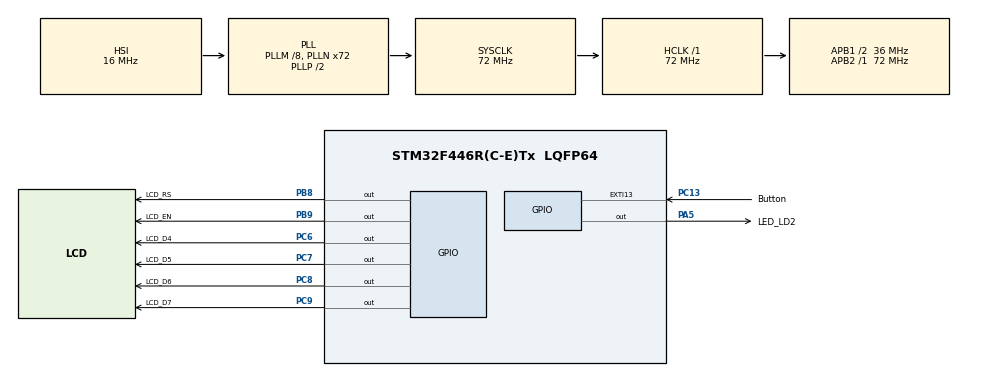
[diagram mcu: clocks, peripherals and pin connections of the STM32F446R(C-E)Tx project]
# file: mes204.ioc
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Mcu.Family=STM32F4
Mcu.Name=STM32F446R(C-E)Tx
Mcu.Package=LQFP64
NVIC.EXTI15_10_IRQn=true\:0\:0\:false\:false\:true\:true\:true\:true
NVIC.PriorityGroup=NVIC_PRIORITYGROUP_4
NVIC.TIM1_UP_TIM10_IRQn=true\:0\:0\:false\:false\:true\:true\:true\:true
PA13.Signal=SYS_JTMS-SWDIO
PA2.Signal=USART2_TX
PA3.Signal=USART2_RX
PA5.GPIO_Label=LED_LD2
PA5.Signal=GPIO_Output
PB8.GPIO_Label=LCD_RS
PB8.Signal=GPIO_Output
PB9.GPIO_Label=LCD_EN
PB9.Signal=GPIO_Output
PC13.GPIO_Label=Button
PC13.GPIO_ModeDefaultEXTI=GPIO_MODE_IT_FALLING
PC13.GPIO_PuPd=GPIO_PULLUP
PC13.Signal=GPXTI13
PC14-OSC32_IN.Signal=RCC_OSC32_IN
PC15-OSC32_OUT.Signal=RCC_OSC32_OUT
PC6.GPIO_Label=LCD_D4
PC6.Signal=GPIO_Output
PC7.GPIO_Label=LCD_D5
PC7.Signal=GPIO_Output
PC8.GPIO_Label=LCD_D6
PC8.Signal=GPIO_Output
PC9.GPIO_Label=LCD_D7
PC9.Signal=GPIO_Output
PH0-OSC_IN.Mode=HSE-External-Oscillator
PH0-OSC_IN.Signal=RCC_OSC_IN
PH1-OSC_OUT.Mode=HSE-External-Oscillator
PH1-OSC_OUT.Signal=RCC_OSC_OUT
ProjectManager.HeapSize=0x200
ProjectManager.StackSize=0x400
ProjectManager.TargetToolchain=CMake
RCC.AHBFreq_Value=72000000
RCC.APB1CLKDivider=RCC_HCLK_DIV2
RCC.APB1Freq_Value=36000000
RCC.APB1TimFreq_Value=72000000
RCC.APB2Freq_Value=72000000
RCC.APB2TimFreq_Value=72000000
RCC.CortexFreq_Value=72000000
RCC.HCLKFreq_Value=72000000
RCC.HSE_VALUE=8000000
RCC.PLLM=8
RCC.PLLN=72
RCC.SYSCLKFreq_VALUE=72000000
RCC.SYSCLKSource=RCC_SYSCLKSOURCE_PLLCLK
RCC.USBFreq_Value=72000000
RCC.VCOOutputFreq_Value=144000000
TIM1.Period=500-1
TIM1.Prescaler=7200-1
VP_TIM1_VS_ClockSourceINT.Mode=Internal
board=custom

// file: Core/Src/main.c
/* USER CODE BEGIN Header */
/**
  ******************************************************************************
  * @file           : main.c
  * @brief          : Main program body
  ******************************************************************************
  * @attention
  *
  * Copyright (c) 2025 STMicroelectronics.
  * All rights reserved.
  *
  * This software is licensed under terms that can be found in the LICENSE file
  * in the root directory of this software component.
  * If no LICENSE file comes with this software, it is provided AS-IS.
  *
  ******************************************************************************
  */
/* USER CODE END Header */
#include "main.h"

/* USER CODE BEGIN Includes */

#include "lcd.h"
#include "dinogame.h"
#include <stdbool.h>

/* USER CODE END Includes */

TIM_HandleTypeDef htim1;

/* USER CODE BEGIN PV */

Lcd_PortType data_ports[] = {GPIOC, GPIOC, GPIOC, GPIOC};   // D4, D5, D6, D7 -> PC6..PC9
Lcd_PinType  data_pins[]  = {GPIO_PIN_6, GPIO_PIN_7, GPIO_PIN_8, GPIO_PIN_9};

Lcd_PortType rs_port = GPIOB;
Lcd_PinType  rs_pin  = GPIO_PIN_8;

Lcd_PortType en_port = GPIOB;
Lcd_PinType  en_pin  = GPIO_PIN_9;
Lcd_HandleTypeDef lcd; /* 全局句柄的定义（分配内存） */

// volatile Lcd_State_t lcd_state = STATE_CLEAR; // 此变量未在其他地方使用，可以删除或忽略

/* 增加状态跟踪变量以解决屏幕卡死问题 */
bool last_game_start_state = false;

/* USER CODE END PV */

void SystemClock_Config(void);
static void MX_GPIO_Init(void);
static void MX_TIM1_Init(void);

/* USER CODE BEGIN 0 */

/**
 * @brief 绘制初始的“待机”界面。
 */
void Draw_Initial_Screen(void)
{
    Lcd_clear(&lcd);
    Lcd_cursor(&lcd, 0, 1);
    Lcd_string(&lcd, "Dino STM32");
    Lcd_cursor(&lcd, 1, 1);
    Lcd_string(&lcd, "Press Button!");
}

/* USER CODE END 0 */

int main(void)
{

  /* MCU Configuration--------------------------------------------------------*/

  /* Reset of all peripherals, Initializes the Flash interface and the Systick. */
  HAL_Init();

  /* Configure the system clock */
  SystemClock_Config();

  /* Initialize all configured peripherals */
  MX_GPIO_Init();
  MX_TIM1_Init();
  /* USER CODE BEGIN 2 */

  /* 创建并初始化 LCD（内部会调用 Lcd_init） */
  lcd = Lcd_create(data_ports, data_pins, rs_port, rs_pin, en_port, en_pin, LCD_4_BIT_MODE);

  /* 可选短延时，确保 LCD 上电稳定 */
  HAL_Delay(50);
  Lcd_clear(&lcd);

  Lcd_load_custom_chars(&lcd); // 加载恐龙和草地图形
  game_start = false; // 确保初始状态是待机

  HAL_TIM_Base_Start_IT(&htim1);

  // 初始显示，设置初始状态
  Draw_Initial_Screen();
  last_game_start_state = game_start;

  /* USER CODE END 2 */

  /* Infinite loop */
  /* USER CODE BEGIN WHILE */
  while (1)
  {
    // --- 状态变化检测与 LCD 重绘逻辑 ---
    // 这个逻辑现在主要用于处理从游戏结束返回待机界面的情况 (如果未来有此功能)
    if (game_start != last_game_start_state)
    {
      if (game_start == false)
      {
        // 状态从 TRUE (游戏) 切换到 FALSE (待机/结束)，重绘初始屏幕
        Draw_Initial_Screen();
      }
      // 当从 FALSE 切换到 TRUE 时，所有绘制工作由 EXTI 中断处理，这里无需操作
      last_game_start_state = game_start;
    }

    // --- LED 指示和主循环延时 ---
    if (game_start == false)
    {
      // 待机状态：慢速闪烁
      HAL_GPIO_TogglePin(GPIOA, LED_LD2_Pin);
      HAL_Delay(500);
    }
    else
    {
      // 游戏状态：快速闪烁
      HAL_GPIO_TogglePin(GPIOA, LED_LD2_Pin);
      HAL_Delay(100);
    }

    /* USER CODE END WHILE */

  }
}

void SystemClock_Config(void)
{
  RCC_OscInitTypeDef RCC_OscInitStruct = {0};
  RCC_ClkInitTypeDef RCC_ClkInitStruct = {0};

  /** Configure the main internal regulator output voltage
  */
  __HAL_RCC_PWR_CLK_ENABLE();
  __HAL_PWR_VOLTAGESCALING_CONFIG(PWR_REGULATOR_VOLTAGE_SCALE3);

  /** Initializes the RCC Oscillators according to the specified parameters
  * in the RCC_OscInitTypeDef structure.
  */
  RCC_OscInitStruct.OscillatorType = RCC_OSCILLATORTYPE_HSI;
  RCC_OscInitStruct.HSIState = RCC_HSI_ON;
  RCC_OscInitStruct.HSICalibrationValue = RCC_HSICALIBRATION_DEFAULT;
  RCC_OscInitStruct.PLL.PLLState = RCC_PLL_ON;
  RCC_OscInitStruct.PLL.PLLSource = RCC_PLLSOURCE_HSI;
  RCC_OscInitStruct.PLL.PLLM = 8;
  RCC_OscInitStruct.PLL.PLLN = 72;
  RCC_OscInitStruct.PLL.PLLP = RCC_PLLP_DIV2;
  RCC_OscInitStruct.PLL.PLLQ = 2;
  RCC_OscInitStruct.PLL.PLLR = 2;
  if (HAL_RCC_OscConfig(&RCC_OscInitStruct) != HAL_OK)
  {
    Error_Handler();
  }

  /** Initializes the CPU, AHB and APB buses clocks
  */
  RCC_ClkInitStruct.ClockType = RCC_CLOCKTYPE_HCLK|RCC_CLOCKTYPE_SYSCLK
                              |RCC_CLOCKTYPE_PCLK1|RCC_CLOCKTYPE_PCLK2;
  RCC_ClkInitStruct.SYSCLKSource = RCC_SYSCLKSOURCE_PLLCLK;
  RCC_ClkInitStruct.AHBCLKDivider = RCC_SYSCLK_DIV1;
  RCC_ClkInitStruct.APB1CLKDivider = RCC_HCLK_DIV2;
  RCC_ClkInitStruct.APB2CLKDivider = RCC_HCLK_DIV1;

  if (HAL_RCC_ClockConfig(&RCC_ClkInitStruct, FLASH_LATENCY_2) != HAL_OK)
  {
    Error_Handler();
  }
}

static void MX_TIM1_Init(void)
{

  TIM_ClockConfigTypeDef sClockSourceConfig = {0};
  TIM_MasterConfigTypeDef sMasterConfig = {0};

  htim1.Instance = TIM1;
  htim1.Init.Prescaler = 7200-1;
  htim1.Init.CounterMode = TIM_COUNTERMODE_UP;
  htim1.Init.Period = 500-1;
  htim1.Init.ClockDivision = TIM_CLOCKDIVISION_DIV1;
  htim1.Init.RepetitionCounter = 0;
  htim1.Init.AutoReloadPreload = TIM_AUTORELOAD_PRELOAD_DISABLE;
  if (HAL_TIM_Base_Init(&htim1) != HAL_OK)
  {
    Error_Handler();
  }
  sClockSourceConfig.ClockSource = TIM_CLOCKSOURCE_INTERNAL;
  if (HAL_TIM_ConfigClockSource(&htim1, &sClockSourceConfig) != HAL_OK)
  {
    Error_Handler();
  }
  sMasterConfig.MasterOutputTrigger = TIM_TRGO_RESET;
  sMasterConfig.MasterSlaveMode = TIM_MASTERSLAVEMODE_DISABLE;
  if (HAL_TIMEx_MasterConfigSynchronization(&htim1, &sMasterConfig) != HAL_OK)
  {
    Error_Handler();
  }

}

static void MX_GPIO_Init(void)
{
  GPIO_InitTypeDef GPIO_InitStruct = {0};

  /* GPIO Ports Clock Enable */
  __HAL_RCC_GPIOC_CLK_ENABLE();
  __HAL_RCC_GPIOH_CLK_ENABLE();
  __HAL_RCC_GPIOA_CLK_ENABLE();
  __HAL_RCC_GPIOB_CLK_ENABLE();

  /*Configure GPIO pin Output Level */
  HAL_GPIO_WritePin(LED_LD2_GPIO_Port, LED_LD2_Pin, GPIO_PIN_RESET);

  /*Configure GPIO pin Output Level */
  HAL_GPIO_WritePin(GPIOC, LCD_D4_Pin|LCD_D5_Pin|LCD_D6_Pin|LCD_D7_Pin, GPIO_PIN_RESET);

  /*Configure GPIO pin Output Level */
  HAL_GPIO_WritePin(GPIOB, LCD_RS_Pin|LCD_EN_Pin, GPIO_PIN_RESET);

  /*Configure GPIO pin : Button_Pin */
  GPIO_InitStruct.Pin = Button_Pin;
  GPIO_InitStruct.Mode = GPIO_MODE_IT_FALLING;
  GPIO_InitStruct.Pull = GPIO_PULLUP;
  HAL_GPIO_Init(Button_GPIO_Port, &GPIO_InitStruct);

  /*Configure GPIO pins : PA2 PA3 */
  GPIO_InitStruct.Pin = GPIO_PIN_2|GPIO_PIN_3;
  GPIO_InitStruct.Mode = GPIO_MODE_AF_PP;
  GPIO_InitStruct.Pull = GPIO_NOPULL;
  GPIO_InitStruct.Speed = GPIO_SPEED_FREQ_VERY_HIGH;
  GPIO_InitStruct.Alternate = GPIO_AF7_USART2;
  HAL_GPIO_Init(GPIOA, &GPIO_InitStruct);

  /*Configure GPIO pin : LED_LD2_Pin */
  GPIO_InitStruct.Pin = LED_LD2_Pin;
  GPIO_InitStruct.Mode = GPIO_MODE_OUTPUT_PP;
  GPIO_InitStruct.Pull = GPIO_NOPULL;
  GPIO_InitStruct.Speed = GPIO_SPEED_FREQ_LOW;
  HAL_GPIO_Init(LED_LD2_GPIO_Port, &GPIO_InitStruct);

  /*Configure GPIO pins : LCD_D4_Pin LCD_D5_Pin LCD_D6_Pin LCD_D7_Pin */
  GPIO_InitStruct.Pin = LCD_D4_Pin|LCD_D5_Pin|LCD_D6_Pin|LCD_D7_Pin;
  GPIO_InitStruct.Mode = GPIO_MODE_OUTPUT_PP;
  GPIO_InitStruct.Pull = GPIO_NOPULL;
  GPIO_InitStruct.Speed = GPIO_SPEED_FREQ_LOW;
  HAL_GPIO_Init(GPIOC, &GPIO_InitStruct);

  /*Configure GPIO pins : LCD_RS_Pin LCD_EN_Pin */
  GPIO_InitStruct.Pin = LCD_RS_Pin|LCD_EN_Pin;
  GPIO_InitStruct.Mode = GPIO_MODE_OUTPUT_PP;
  GPIO_InitStruct.Pull = GPIO_NOPULL;
  GPIO_InitStruct.Speed = GPIO_SPEED_FREQ_LOW;
  HAL_GPIO_Init(GPIOB, &GPIO_InitStruct);

  /* EXTI interrupt init*/
  //调低优先级以避免与定时器中断冲突
  HAL_NVIC_SetPriority(EXTI15_10_IRQn, 0, 0);
  HAL_NVIC_EnableIRQ(EXTI15_10_IRQn);

}

void Error_Handler(void)
{
  __disable_irq();
  while (1)
  {
  }
}
